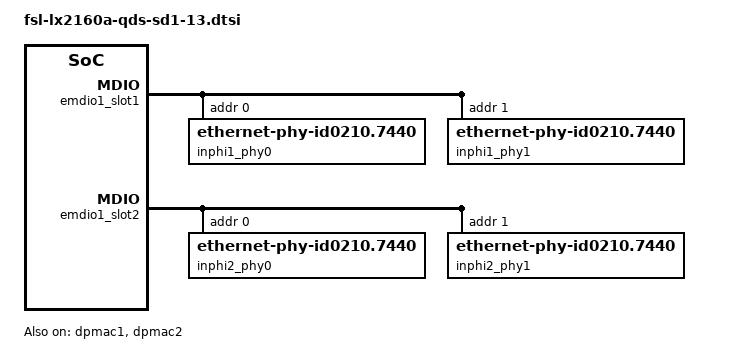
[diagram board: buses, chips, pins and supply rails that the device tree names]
// SPDX-License-Identifier: GPL-2.0+ OR X11
/*
 * NXP LX2160AQDS device tree source for the SERDES block #1 - protocol 13
 *
 * Some assumptions are made:
 *    * mezzanine card M8 (100G) #1 is connected to IO SLOT 1 - DPMAC 1
 *    * mezzanine card M8 (100G) #2 is connected to IO SLOT 2 - DPMAC 2
 *
 * Copyright 2021-2022 NXP
 *
 */

#include "fsl-lx2160a-qds.dtsi"

&dpmac1 {
	status = "okay";
	phy-handle = <&inphi1_phy0 &inphi1_phy1>;
	phy-connection-type = "caui4";
};

&dpmac2 {
	status = "okay";
	phy-handle = <&inphi2_phy0 &inphi2_phy1>;
	phy-connection-type = "caui4";
};

&emdio1_slot1 {
	inphi1_phy0: ethernet-phy@0 {
		compatible = "ethernet-phy-id0210.7440";
		reg = <0x0>;
	};

	inphi1_phy1: ethernet-phy@1 {
		compatible = "ethernet-phy-id0210.7440";
		reg = <0x1>;
	};
};

&emdio1_slot2 {
	inphi2_phy0: ethernet-phy@0 {
		compatible = "ethernet-phy-id0210.7440";
		reg = <0x0>;
	};

	inphi2_phy1: ethernet-phy@1 {
		compatible = "ethernet-phy-id0210.7440";
		reg = <0x1>;
	};
};
